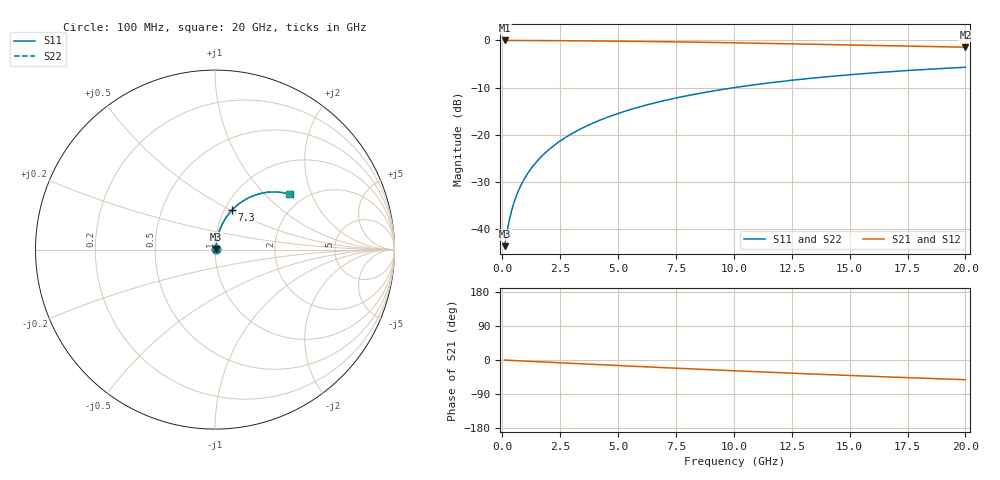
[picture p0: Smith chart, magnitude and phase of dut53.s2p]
! Touchstone file exported from HFSS 2026.1.0
!  File:  C:/ffzhzh/LocalFiles/Ansys_Project_Files/temp_train_BSMRDL_53_1782882594_42304.aedt
!  Generated:  01:11:15 PM Jul  1, 2026
!  Design:  BSMRDL
!  Project:  temp_train_BSMRDL_53_1782882594_42304
! Variables:
!  h_bsmrdl = 2.37um
!  h_ox = 20um
!  h_rdl = 5um
!  h_sub = 80um
!  h_tmrdl = 5um
!  h_tsv = 80um
!  h_via = 3um
!  l_bsmrdl = 732.61um
!  l_sub = 1132.61um
!  l_tmrdl = 200um
!  m_sub = 200um
!  pitch = 56.6um
!  r_tsv = 6um
!  s_tmrdl = 10um
!  w_bsmrdl = 20.68um
!  w_sub = 500um
!  w_tmrdl = 12um
!  x_tsv_center1 = 206um
!  x_tsv_center2 = 959.29um
!  x_tsv_center3 = 1171.29um
!  x_tsv_center4 = 1924.58um
!  x_tsv_center5 = 2136.58um
!  x_tsv_center6 = 2889.87um
# GHz S MA R 50.000000
! Terminal data exported
! Port[1] = BSM_RDL1_1_T1
! Port[2] = BSM_RDL1_1_T2
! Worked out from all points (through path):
!   200 points, 100 MHz to 20 GHz, reference 50 ohm
!   highest |S21| = -0.05 dB at 100 MHz (marker M1); lowest = -1.5 dB at 20 GHz (marker M2)
!   group delay of S21, straight-line fit = 7.24 ps
!   lowest |S11| = -43.6 dB at 100 MHz (marker M3), VSWR 1.01, Z = 50.6 + j0.372 ohm
!   |S11| at or under -10 dB: start of sweep to 10.05 GHz
!   |S22| runs from -43.6 to -5.7 dB; largest |S21 - S12| = 3.1e-15
!   S11 on the Smith chart (normalised r, x): 100 MHz: 1.01, +0.01; 7.3 GHz: 1.09, +0.51; 20 GHz: 1.67, +1.41
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0.1  0.006635 33.7  0.9945 -0.3  0.9945 -0.3  0.006635 33.7
! Gamma 0 0 0 0
! Port Impedance 50 0 50 0
0.2  0.009274 52.1  0.9944 -0.6  0.9944 -0.6  0.009274 52.1
0.3  0.01242 61.3  0.9942 -0.9  0.9942 -0.9  0.01242 61.3
0.4  0.01571 66.5  0.9939 -1.2  0.9939 -1.2  0.01571 66.5
0.5  0.01904 69.7  0.9937 -1.5  0.9937 -1.5  0.01904 69.7
0.6  0.02238 71.8  0.9935 -1.8  0.9935 -1.8  0.02238 71.8
0.8  0.02905 74.5  0.993 -2.4  0.993 -2.4  0.02905 74.5
1.1  0.03906 76.6  0.9924 -3.3  0.9924 -3.3  0.03906 76.6
1.3  0.04575 77.4  0.992 -3.9  0.992 -3.9  0.04575 77.4
1.6  0.05581 78.0  0.9914 -4.8  0.9914 -4.8  0.05581 78.0
2.1  0.07258 78.0  0.9902 -6.2  0.9902 -6.2  0.07258 78.1
2.7  0.09266 77.4  0.9884 -8.0  0.9884 -8.0  0.09266 77.5
3.5  0.1192 76.0  0.9853 -10.3  0.9853 -10.3  0.1192 76.0
4.2  0.1422 74.5  0.9821 -12.4  0.9821 -12.4  0.1422 74.5
5  0.168 72.6  0.9778 -14.6  0.9778 -14.6  0.168 72.6
6.8  0.2239 68.0  0.966 -19.7  0.966 -19.7  0.2239 68.1
7.3  0.2389 66.8  0.9623 -21.1  0.9623 -21.1  0.2389 66.8
8.6  0.2765 63.4  0.9518 -24.7  0.9518 -24.7  0.2765 63.4
10.1  0.3174 59.5  0.9385 -28.7  0.9385 -28.7  0.3174 59.6
13.4  0.3975 51.4  0.9068 -37.0  0.9068 -37.0  0.3975 51.5
16.7  0.464 43.8  0.8744 -44.8  0.8744 -44.8  0.464 43.9
20  0.5178 36.7  0.8436 -52.0  0.8436 -52.0  0.5178 36.8
